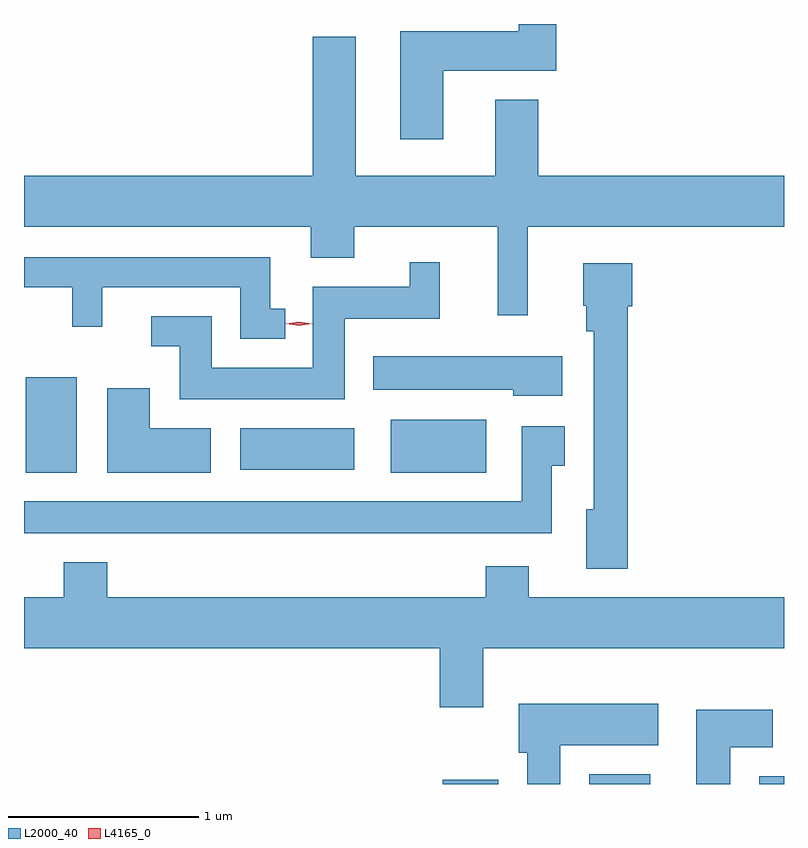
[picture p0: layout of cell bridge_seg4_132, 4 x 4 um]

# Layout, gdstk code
import gdstk
lib = gdstk.Library(unit=1e-6, precision=1e-09)
def R(c, l, rs):  # rectangles x0, y0, x1, y1
    for r in rs: c.add(gdstk.rectangle(r[:2], r[2:], *l))
def P(c, l, *ps):  # polygons
    for p in ps: c.add(gdstk.Polygon(p, *l))
L2000_40 = (2000, 40)
L4165_0 = (4165, 0)

bridge_seg4_132 = lib.new_cell('bridge_seg4_132')
R(bridge_seg4_132, L2000_40, [(909.386,1267.382,909.679,1267.404), (910.156,1267.382,910.479,1267.434), (911.051,1267.382,911.182,1267.424), (907.191,1269.021,907.459,1269.524), (909.111,1269.021,909.614,1269.299), (908.321,1269.036,908.919,1269.254)])
P(bridge_seg4_132, L2000_40, [(909.389,1271.136),(909.984,1271.136),(909.984,1271.382),(909.786,1271.382),(909.786,1271.344),(909.161,1271.344),(909.161,1270.776),(909.389,1270.776)],
  [(909.834,1270.316),(911.182,1270.316),(911.182,1270.584),(909.889,1270.584),(909.889,1270.984),(909.661,1270.984),(909.661,1270.584),(908.929,1270.584),(908.929,1271.314),(908.701,1271.314),(908.701,1270.584),(907.182,1270.584),(907.182,1270.316),(908.691,1270.316),(908.691,1270.151),(908.919,1270.151),(908.919,1270.316),(909.676,1270.316),(909.676,1269.848),(909.834,1269.848)],
  [(908.558,1269.884),(908.479,1269.884),(908.479,1270.154),(907.182,1270.154),(907.182,1269.996),(907.436,1269.996),(907.436,1269.788),(907.594,1269.788),(907.594,1269.996),(908.321,1269.996),(908.321,1269.726),(908.558,1269.726)],
  [(908.869,1269.831),(909.369,1269.831),(909.369,1270.128),(909.211,1270.128),(909.211,1269.999),(908.701,1269.999),(908.701,1269.574),(908.169,1269.574),(908.169,1269.844),(907.853,1269.844),(907.853,1269.686),(908.001,1269.686),(908.001,1269.406),(908.869,1269.406)],
  [(910.359,1269.896),(910.384,1269.896),(910.384,1270.124),(910.126,1270.124),(910.126,1269.9),(910.141,1269.9),(910.141,1269.766),(910.181,1269.766),(910.181,1268.829),(910.141,1268.829),(910.141,1268.516),(910.359,1268.516)],
  [(910.014,1269.634),(909.021,1269.634),(909.021,1269.456),(909.756,1269.456),(909.756,1269.426),(910.014,1269.426)],
  [(908.164,1269.254),(907.844,1269.254),(907.844,1269.464),(907.621,1269.464),(907.621,1269.021),(908.164,1269.021)],
  [(909.959,1269.056),(910.029,1269.056),(910.029,1269.264),(909.801,1269.264),(909.801,1268.869),(907.182,1268.869),(907.182,1268.701),(909.959,1268.701)],
  [(909.599,1268.096),(911.182,1268.096),(911.182,1268.364),(909.839,1268.364),(909.839,1268.529),(909.611,1268.529),(909.611,1268.364),(907.619,1268.364),(907.619,1268.549),(907.391,1268.549),(907.391,1268.364),(907.182,1268.364),(907.182,1268.096),(909.371,1268.096),(909.371,1267.786),(909.599,1267.786)],
  [(910.004,1267.586),(910.519,1267.586),(910.519,1267.804),(909.786,1267.804),(909.786,1267.546),(909.831,1267.546),(909.831,1267.382),(910.004,1267.382)],
  [(910.899,1267.576),(911.124,1267.576),(911.124,1267.774),(910.721,1267.774),(910.721,1267.382),(910.899,1267.382)])
P(bridge_seg4_132, L4165_0, [(908.628,1269.795),(908.559,1269.804),(908.559,1269.805),(908.559,1269.805),(908.628,1269.815),(908.698,1269.805),(908.698,1269.805),(908.698,1269.804)])

lib.write_gds('bridge_seg4_132.gds')
